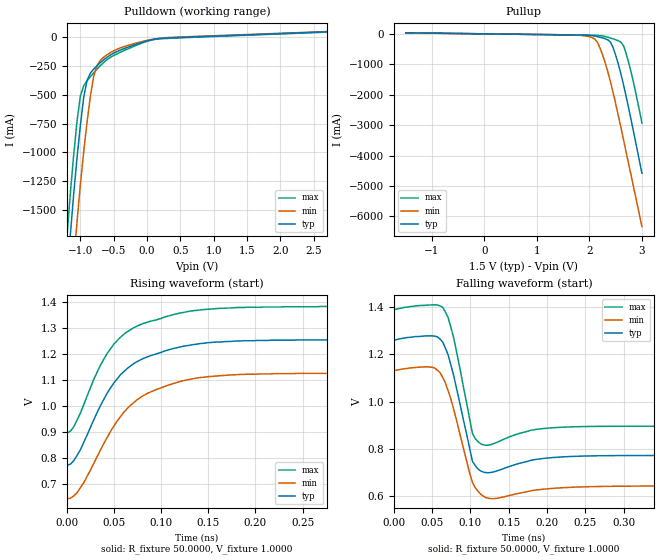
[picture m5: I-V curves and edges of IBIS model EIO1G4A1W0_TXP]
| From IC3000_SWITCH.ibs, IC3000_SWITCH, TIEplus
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|   Model EIO1G4A1W0_TXP
[Model]   EIO1G4A1W0_TXP
Model_type   Output
Polarity   Non-Inverting
Vmeas =   1.0000V
Cref =   5.0000pF
Rref =  50.0000
Vref =   1.0000V
C_comp   1.6030pF   1.6370pF   1.5940pF
[Temperature Range]   25.0000   0.1250k   -40.0000
[Voltage Range]   1.5000V   1.3500V   1.6500V
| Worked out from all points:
|   slope of the pulldown table from 0 to 0.225 V, typ, clamps not added: 10 ohm
|   slope of the pullup table from 0 to 0.225 V, typ, clamps not added: 46 ohm
|   rising waveform, R_fixture 50.0000, V_fixture 1.0000: 20-80 % time 51.5ps typ, 55.3ps min, 49.4ps max; typ from 0.771 V to 1.26 V
|   falling waveform, R_fixture 50.0000, V_fixture 1.0000: 20-80 % time 20.7ps typ, 23.5ps min, 18.6ps max; typ from 1.26 V to 0.771 V
[Pulldown]
| voltage   I(typ)   I(min)   I(max)
-1.5V     -4.594A    -5.121A    -4.265A
-1.2V     -2.088A    -2.699A    -1.715A
-1.15V    -1.711A    -2.315A    -1.349A
-1.05V    -1.044A    -1.599A    -725.2mA
-1V       -764.5mA   -1.279A    -509.2mA
-950mV    -519.8mA   -991.5mA   -420.4mA
-900mV    -374.6mA   -737.8mA   -377.8mA
-800mV    -276.3mA   -337.6mA   -309.1mA
-750mV    -247.3mA   -245.7mA   -276.8mA
-600mV    -173.7mA   -152.2mA   -194.5mA
150mV     -13.82mA   -12.24mA   -16.25mA
3V        53.89mA    56.06mA    51.37mA
[Pullup]
| voltage   I(typ)   I(min)   I(max)
-1.5V     32.86mA    32.06mA    33.4mA
1.7V      -36.49mA   -36.27mA   -37.34mA
2.1V      -73.38mA   -171.4mA   -47.12mA
2.15V     -90.76mA   -274.2mA   -50.59mA
2.25V     -134.3mA   -692.4mA   -69.55mA
2.4V      -273mA     -1.573A    -136.4mA
2.5V      -704.7mA   -2.297A    -194.4mA
2.6V      -1.321A    -3.082A    -274.5mA
2.65V     -1.68A     -3.486A    -397mA
2.7V      -2.064A    -3.891A    -652.6mA
2.8V      -2.879A    -4.703A    -1.302A
3V        -4.58A     -6.332A    -2.931A
[Ramp]
| variable   typ   min   max
dV/dt_r   0.2882/40.9374p   0.2936/40.8346p   0.2961/40.8273p
dV/dt_f   0.2936/38.7334p   0.2936/38.6114p   0.2962/38.7441p
R_load = 50.0000
[Rising Waveform]
R_fixture = 50.0000
V_fixture = 1.0000
V_fixture_min = 0.9000
V_fixture_max = 1.1000
| time   V(typ)   V(min)   V(max)
0s        770.8mV    641.7mV    895.5mV
7.071ps   788.1mV    652.4mV    919.2mV
17.68ps   858.4mV    703.3mV    1.004V
28.28ps   945.7mV    777.7mV    1.101V
42.42ps   1.048V     877mV      1.201V
63.64ps   1.143V     988.3mV    1.285V
84.85ps   1.188V     1.047V     1.322V
113.1ps   1.221V     1.086V     1.352V
180.3ps   1.25V      1.12V      1.379V
3.03ns    1.26V      1.131V     1.389V
[Falling Waveform]
R_fixture = 50.0000
V_fixture = 1.0000
V_fixture_min = 0.9000
V_fixture_max = 1.1000
| time   V(typ)   V(min)   V(max)
0s        1.26V      1.131V     1.389V
49.49ps   1.279V     1.146V     1.41V
63.64ps   1.253V     1.103V     1.4V
70.71ps   1.199V     1.047V     1.357V
77.78ps   1.114V     970.5mV    1.274V
102.5ps   748.3mV    659.4mV    866.3mV
120.2ps   699.7mV    593.7mV    815.4mV
183.8ps   754.7mV    625.2mV    881.7mV
300.5ps   771.9mV    642.2mV    896.1mV
16.36ns   770.7mV    641.6mV    895.4mV
